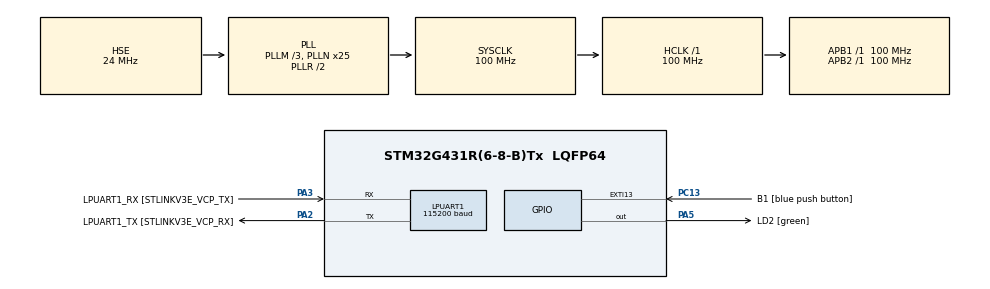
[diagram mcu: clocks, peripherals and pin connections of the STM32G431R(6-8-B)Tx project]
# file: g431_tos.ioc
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LPUART1.BaudRate=115200
LPUART1.WordLength=UART_WORDLENGTH_8B
Mcu.Family=STM32G4
Mcu.Name=STM32G431R(6-8-B)Tx
Mcu.Package=LQFP64
NVIC.PriorityGroup=NVIC_PRIORITYGROUP_4
NVIC.TIM6_DAC_IRQn=true\:0\:0\:false\:false\:true\:true\:true
PA13.GPIO_Label=T_SWDIO
PA13.Mode=Serial_Wire
PA13.Signal=SYS_JTMS-SWDIO
PA14.GPIO_Label=T_SWCLK
PA14.Mode=Serial_Wire
PA14.Signal=SYS_JTCK-SWCLK
PA2.GPIO_Label=LPUART1_TX [STLINKV3E_VCP_RX]
PA2.Mode=Asynchronous
PA2.Signal=LPUART1_TX
PA3.GPIO_Label=LPUART1_RX [STLINKV3E_VCP_TX]
PA3.Mode=Asynchronous
PA3.Signal=LPUART1_RX
PA5.GPIO_Label=LD2 [green]
PA5.Signal=GPIO_Output
PB3.GPIO_Label=T_SWO
PB3.Signal=SYS_JTDO-SWO
PC13.GPIO_Label=B1 [blue push button]
PC13.Signal=GPXTI13
PC14-OSC32_IN.Mode=LSE-External-Oscillator
PC14-OSC32_IN.Signal=RCC_OSC32_IN
PC15-OSC32_OUT.Mode=LSE-External-Oscillator
PC15-OSC32_OUT.Signal=RCC_OSC32_OUT
PF0-OSC_IN.Mode=HSE-External-Oscillator
PF0-OSC_IN.Signal=RCC_OSC_IN
PF1-OSC_OUT.Mode=HSE-External-Oscillator
PF1-OSC_OUT.Signal=RCC_OSC_OUT
ProjectManager.HeapSize=0x200
ProjectManager.StackSize=0x400
ProjectManager.TargetToolchain=MDK-ARM V5.27
RCC.ADC12Freq_Value=100000000
RCC.AHBFreq_Value=100000000
RCC.APB1Freq_Value=100000000
RCC.APB1TimFreq_Value=100000000
RCC.APB2Freq_Value=100000000
RCC.APB2TimFreq_Value=100000000
RCC.CortexFreq_Value=100000000
RCC.EXTERNAL_CLOCK_VALUE=12288000
RCC.HCLKFreq_Value=100000000
RCC.HSE_VALUE=24000000
RCC.HSI48_VALUE=48000000
RCC.HSI_VALUE=16000000
RCC.PLLM=RCC_PLLM_DIV3
RCC.PLLN=25
RCC.PLLSourceVirtual=RCC_PLLSOURCE_HSE
RCC.RTCClockSelection=RCC_RTCCLKSOURCE_LSE
RCC.SYSCLKFreq_VALUE=100000000
RCC.SYSCLKSource=RCC_SYSCLKSOURCE_PLLCLK
RCC.USBFreq_Value=100000000
RCC.VCOOutputFreq_Value=200000000
TIM6.PeriodNoDither=1000
TIM6.Prescaler=99
VP_SYS_VS_DBSignals.Mode=DisableDeadBatterySignals
VP_TIM6_VS_ClockSourceINT.Mode=Enable_Timer
board=NUCLEO-G431RB

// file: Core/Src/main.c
/* USER CODE BEGIN Header */
/**
  ******************************************************************************
  * @file           : main.c
  * @brief          : Main program body
  ******************************************************************************
  * @attention
  *
  * <h2><center>&copy; Copyright (c) 2020 STMicroelectronics.
  * All rights reserved.</center></h2>
  *
  * This software component is licensed by ST under BSD 3-Clause license,
  * the "License"; You may not use this file except in compliance with the
  * License. You may obtain a copy of the License at:
  *                        opensource.org/licenses/BSD-3-Clause
  *
  ******************************************************************************
  */
/* USER CODE END Header */

#include "main.h"
#include "usart.h"
#include "tim.h"
#include "gpio.h"

/* USER CODE BEGIN Includes */
 #include <stdio.h>
 #include "cmsis_os.h"
 #include "tos_k.h"
/* USER CODE END Includes */

/* USER CODE BEGIN PTD */
 k_task_t led_task , show_task;

k_stack_t led_task_stack[512];
k_stack_t show_task_stack[512];
/* USER CODE END PTD */

 void SystemClock_Config(void);
/* USER CODE BEGIN PFP */
 void led_task1 ( void * arg)
  {
   while(1)
		{
		 HAL_GPIO_TogglePin(LD2_GPIO_Port, LD2_Pin);
		 tos_task_delay(1000);
		}
  }
  void show_task2 ( void * arg)
  {
		while(1)
		{
    printf("this is tencentos to run . \r\n");
		tos_task_delay(1000);
    }
 }
/* USER CODE END PFP */

int main(void)
{

  /* MCU Configuration--------------------------------------------------------*/

  /* Reset of all peripherals, Initializes the Flash interface and the Systick. */
  HAL_Init();

  /* Configure the system clock */
  SystemClock_Config();

  /* USER CODE BEGIN SysInit */
    tos_knl_init();
  /* USER CODE END SysInit */

  /* Initialize all configured peripherals */
  MX_GPIO_Init();
  MX_LPUART1_UART_Init();
  MX_TIM6_Init();
  /* USER CODE BEGIN 2 */
(void)tos_task_create(&led_task,
                     	"led_task",
                       led_task1,
                        NULL,
												 4,
                        led_task_stack,
                        512,
   											20 );
(void)tos_task_create(&show_task,
                     	"show_task",
                       show_task2,
                        NULL,
												 4,
                        show_task_stack,
                        512,
   											20 );

	tos_knl_start();
  /* USER CODE END 2 */

  /* Infinite loop */
  while (1)
  {

  }
}

void SystemClock_Config(void)
{
  RCC_OscInitTypeDef RCC_OscInitStruct = {0};
  RCC_ClkInitTypeDef RCC_ClkInitStruct = {0};
  RCC_PeriphCLKInitTypeDef PeriphClkInit = {0};

  /** Configure the main internal regulator output voltage
  */
  HAL_PWREx_ControlVoltageScaling(PWR_REGULATOR_VOLTAGE_SCALE1);
  /** Initializes the CPU, AHB and APB busses clocks
  */
  RCC_OscInitStruct.OscillatorType = RCC_OSCILLATORTYPE_HSE;
  RCC_OscInitStruct.HSEState = RCC_HSE_ON;
  RCC_OscInitStruct.PLL.PLLState = RCC_PLL_ON;
  RCC_OscInitStruct.PLL.PLLSource = RCC_PLLSOURCE_HSE;
  RCC_OscInitStruct.PLL.PLLM = RCC_PLLM_DIV3;
  RCC_OscInitStruct.PLL.PLLN = 25;
  RCC_OscInitStruct.PLL.PLLP = RCC_PLLP_DIV2;
  RCC_OscInitStruct.PLL.PLLQ = RCC_PLLQ_DIV2;
  RCC_OscInitStruct.PLL.PLLR = RCC_PLLR_DIV2;
  if (HAL_RCC_OscConfig(&RCC_OscInitStruct) != HAL_OK)
  {
    Error_Handler();
  }
  /** Initializes the CPU, AHB and APB busses clocks
  */
  RCC_ClkInitStruct.ClockType = RCC_CLOCKTYPE_HCLK|RCC_CLOCKTYPE_SYSCLK
                              |RCC_CLOCKTYPE_PCLK1|RCC_CLOCKTYPE_PCLK2;
  RCC_ClkInitStruct.SYSCLKSource = RCC_SYSCLKSOURCE_PLLCLK;
  RCC_ClkInitStruct.AHBCLKDivider = RCC_SYSCLK_DIV1;
  RCC_ClkInitStruct.APB1CLKDivider = RCC_HCLK_DIV1;
  RCC_ClkInitStruct.APB2CLKDivider = RCC_HCLK_DIV1;

  if (HAL_RCC_ClockConfig(&RCC_ClkInitStruct, FLASH_LATENCY_4) != HAL_OK)
  {
    Error_Handler();
  }
  /** Initializes the peripherals clocks
  */
  PeriphClkInit.PeriphClockSelection = RCC_PERIPHCLK_LPUART1;
  PeriphClkInit.Lpuart1ClockSelection = RCC_LPUART1CLKSOURCE_PCLK1;
  if (HAL_RCCEx_PeriphCLKConfig(&PeriphClkInit) != HAL_OK)
  {
    Error_Handler();
  }
}

void Error_Handler(void)
{
}

/************************ (C) COPYRIGHT STMicroelectronics *****END OF FILE****/
